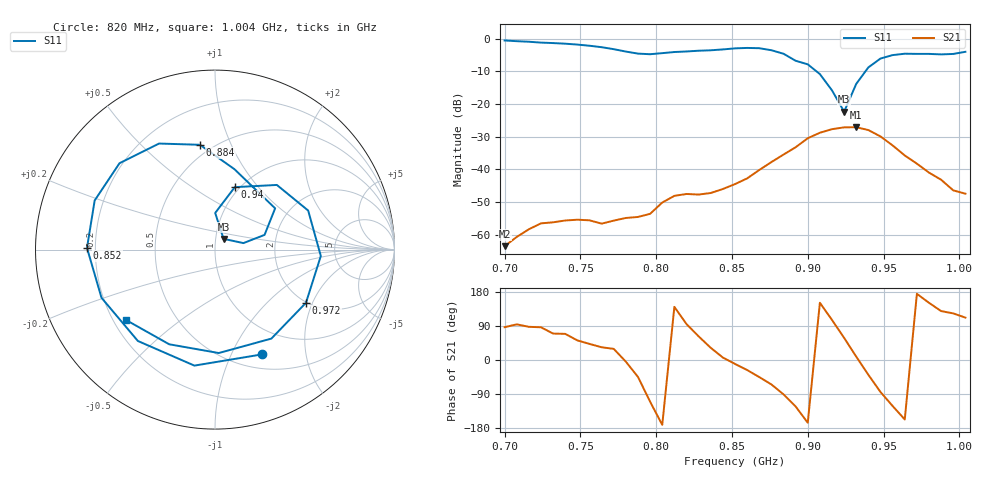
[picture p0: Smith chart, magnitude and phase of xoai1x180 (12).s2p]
# Hz S RI R 50
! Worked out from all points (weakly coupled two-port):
!   39 points, 700 MHz to 1.004 GHz, reference 50 ohm
!   highest |S21| = -27.07 dB at 932 MHz (marker M1); lowest = -63.5 dB at 700 MHz (marker M2)
!   lowest |S11| = -22.3 dB at 924 MHz (marker M3), VSWR 1.17, Z = 54.6 + j6.58 ohm
!   |S11| at or under -10 dB: 905.8 MHz to 938 MHz (32.19 MHz wide, 3.49 % of centre)
!   S12 and S22 are empty: the file has one direction only
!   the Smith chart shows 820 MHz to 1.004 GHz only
!   S11 on the Smith chart (normalised r, x): 820 MHz: 0.67, -1.31; 852 MHz: 0.17, +0.01; 884 MHz: 0.43, +0.77; 940 MHz: 0.95, +0.76; 972 MHz: 1.98, -1.79; 1.004 GHz: 0.25, -0.33
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7e8  0.763 0.5532  3.99e-05 0.000669  0 0  0 0
7.24e8  0.8383 -0.2458  9.58e-05 0.00149  0 0  0 0
7.4e8  0.4565 -0.7066  0.000594 0.00155  0 0  0 0
7.56e8  -0.1928 -0.7581  0.00123 0.00112  0 0  0 0
7.72e8  -0.6653 -0.1951  0.00144 0.000809  0 0  0 0
7.8e8  -0.5932 0.2323  0.0018 -0.00014  0 0  0 0
7.96e8  0.251 0.5233  -0.000717 -0.00197  0 0  0 0
8.04e8  0.5807 0.1617  -0.00308 -0.000475  0 0  0 0
8.2e8  0.2599 -0.5842  -0.000354 0.0042  0 0  0 0
8.36e8  -0.4298 -0.5091  0.00369 0.00232  0 0  0 0
8.52e8  -0.7132 0.00955  0.00587 -0.00107  0 0  0 0
8.68e8  -0.532 0.4813  0.00692 -0.00694  0 0  0 0
8.84e8  -0.084 0.584  -0.000196 -0.0169  0 0  0 0
9e8  0.335 0.2298  -0.0291 -0.00748  0 0  0 0
9.08e8  0.2761 0.082  -0.0319 0.0176  0 0  0 0
9.24e8  0.0476 0.0599  0.0231 0.0376  0 0  0 0
9.32e8  0.00107 0.2043  0.0438 0.00668  0 0  0 0
9.4e8  0.1104 0.3479  0.0311 -0.0253  0 0  0 0
9.56e8  0.519 0.2176  -0.0122 -0.0199  0 0  0 0
9.72e8  0.5068 -0.2963  -0.0122 0.00114  0 0  0 0
9.88e8  0.021 -0.5763  -0.00439 0.0054  0 0  0 0
1.004e9  -0.4956 -0.3923  -0.00158 0.00395  0 0  0 0
